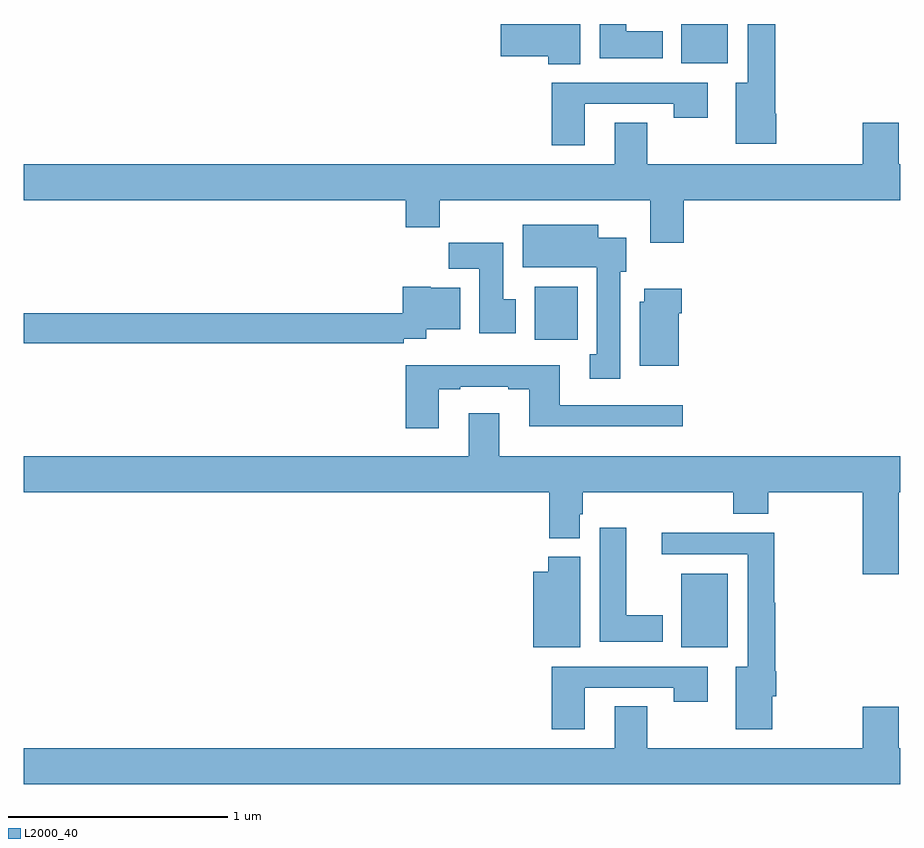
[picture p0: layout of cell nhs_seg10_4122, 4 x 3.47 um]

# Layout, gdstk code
import gdstk
lib = gdstk.Library(unit=1e-6, precision=1e-09)
def R(c, l, rs):  # rectangles x0, y0, x1, y1
    for r in rs: c.add(gdstk.rectangle(r[:2], r[2:], *l))
def P(c, l, *ps):  # polygons
    for p in ps: c.add(gdstk.Polygon(p, *l))
L2000_40 = (2000, 40)

nhs_seg10_4122 = lib.new_cell('nhs_seg10_4122')
R(nhs_seg10_4122, L2000_40, [(344,1251.656,344.212,1251.991), (343.331,1253.06,343.528,1253.302), (344,1254.32,344.212,1254.5)])
P(nhs_seg10_4122, L2000_40, [(344.434,1254.09),(344.429,1254.09),(344.429,1254.5),(344.303,1254.5),(344.303,1254.232),(344.249,1254.232),(344.249,1253.954),(344.434,1253.954)],
  [(343.54,1254.5),(343.176,1254.5),(343.176,1254.353),(343.394,1254.353),(343.394,1254.316),(343.54,1254.316)],
  [(343.915,1254.466),(343.75,1254.466),(343.75,1254.5),(343.628,1254.5),(343.628,1254.344),(343.915,1254.344)],
  [(343.561,1254.135),(343.966,1254.135),(343.966,1254.072),(344.122,1254.072),(344.122,1254.231),(343.409,1254.231),(343.409,1253.946),(343.561,1253.946)],
  [(344.012,1253.696),(345,1253.696),(345,1253.86),(344.992,1253.86),(344.992,1254.049),(344.828,1254.049),(344.828,1253.86),(343.845,1253.86),(343.845,1254.05),(343.697,1254.05),(343.697,1253.86),(341,1253.86),(341,1253.696),(342.743,1253.696),(342.743,1253.572),(342.899,1253.572),(342.899,1253.696),(343.859,1253.696),(343.859,1253.502),(344.012,1253.502)],
  [(343.723,1253.37),(343.75,1253.37),(343.75,1253.524),(343.621,1253.524),(343.621,1253.584),(343.277,1253.584),(343.277,1253.39),(343.616,1253.39),(343.616,1252.994),(343.583,1252.994),(343.583,1252.881),(343.723,1252.881)],
  [(343.246,1253.244),(343.189,1253.244),(343.189,1253.502),(342.94,1253.502),(342.94,1253.384),(343.079,1253.384),(343.079,1253.088),(343.246,1253.088)],
  [(342.734,1253.064),(342.837,1253.064),(342.837,1253.108),(342.991,1253.108),(342.991,1253.296),(342.858,1253.296),(342.858,1253.302),(342.729,1253.302),(342.729,1253.18),(341,1253.18),(341,1253.044),(342.734,1253.044)],
  [(343.99,1253.18),(344.003,1253.18),(344.003,1253.293),(343.832,1253.293),(343.832,1253.232),(343.811,1253.232),(343.811,1252.94),(343.99,1252.94)],
  [(342.895,1252.833),(342.991,1252.833),(342.991,1252.845),(343.211,1252.845),(343.211,1252.833),(343.307,1252.833),(343.307,1252.664),(344.008,1252.664),(344.008,1252.761),(343.447,1252.761),(343.447,1252.942),(342.743,1252.942),(342.743,1252.656),(342.895,1252.656)],
  [(344.992,1252.364),(345,1252.364),(345,1252.528),(343.171,1252.528),(343.171,1252.723),(343.031,1252.723),(343.031,1252.528),(341,1252.528),(341,1252.364),(343.397,1252.364),(343.397,1252.153),(343.537,1252.153),(343.537,1252.263),(343.55,1252.263),(343.55,1252.364),(344.237,1252.364),(344.237,1252.265),(344.397,1252.265),(344.397,1252.364),(344.828,1252.364),(344.828,1251.99),(344.992,1251.99)],
  [(343.915,1251.802),(343.75,1251.802),(343.75,1252.201),(343.628,1252.201),(343.628,1251.68),(343.915,1251.68)],
  [(344.416,1251.432),(344.434,1251.432),(344.434,1251.546),(344.429,1251.546),(344.429,1251.86),(344.424,1251.86),(344.424,1252.178),(343.911,1252.178),(343.911,1252.08),(344.303,1252.08),(344.303,1251.568),(344.249,1251.568),(344.249,1251.282),(344.416,1251.282)],
  [(343.54,1252.068),(343.394,1252.068),(343.394,1252),(343.325,1252),(343.325,1251.656),(343.54,1251.656)],
  [(343.561,1251.471),(343.966,1251.471),(343.966,1251.408),(344.122,1251.408),(344.122,1251.567),(343.409,1251.567),(343.409,1251.282),(343.561,1251.282)],
  [(345,1251.196),(344.992,1251.196),(344.992,1251.385),(344.828,1251.385),(344.828,1251.196),(343.845,1251.196),(343.845,1251.386),(343.697,1251.386),(343.697,1251.196),(341,1251.196),(341,1251.032),(345,1251.032)])

lib.write_gds('nhs_seg10_4122.gds')
